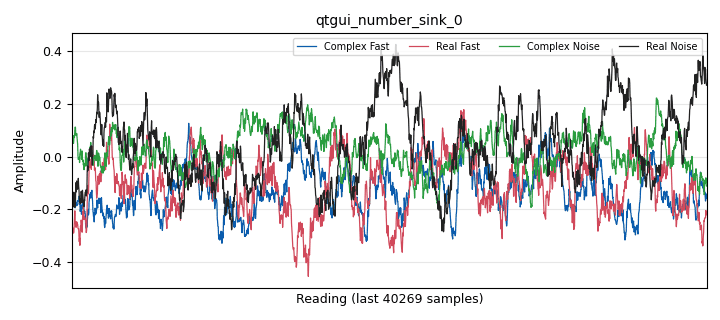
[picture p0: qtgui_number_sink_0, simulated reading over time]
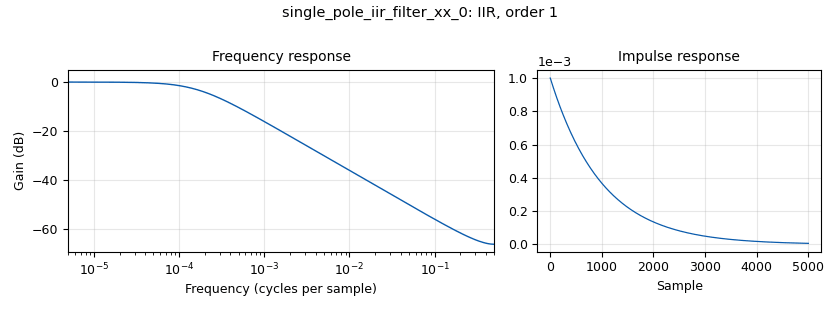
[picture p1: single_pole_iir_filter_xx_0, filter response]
<?xml version='1.0' encoding='utf-8'?>
<?grc format='1' created='3.7.7'?>
<flow_graph>
<block>
<key>options</key>
<param><key>id</key><value>noise_power</value></param>
<param><key>generate_options</key><value>qt_gui</value></param>
<param><key>category</key><value>Custom</value></param>
</block>
<block>
<key>variable</key>
<param><key>id</key><value>samp_rate</value></param>
<param><key>value</key><value>32000</value></param>
</block>
<block>
<key>analog_fastnoise_source_x</key>
<param><key>id</key><value>analog_fastnoise_source_x_0</value></param>
<param><key>type</key><value>complex</value></param>
<param><key>noise_type</key><value>analog.GR_GAUSSIAN</value></param>
<param><key>amp</key><value>noise</value></param>
<param><key>seed</key><value>0</value></param>
<param><key>samples</key><value>8192</value></param>
</block>
<block>
<key>analog_noise_source_x</key>
<param><key>id</key><value>analog_noise_source_x_0</value></param>
<param><key>type</key><value>complex</value></param>
<param><key>noise_type</key><value>analog.GR_GAUSSIAN</value></param>
<param><key>amp</key><value>noise</value></param>
<param><key>seed</key><value>0</value></param>
</block>
<block>
<key>blocks_throttle</key>
<param><key>id</key><value>blocks_throttle_0</value></param>
<param><key>type</key><value>complex</value></param>
<param><key>samples_per_second</key><value>samp_rate</value></param>
</block>
<block>
<key>blocks_throttle</key>
<param><key>id</key><value>blocks_throttle_0_1</value></param>
<param><key>type</key><value>complex</value></param>
<param><key>samples_per_second</key><value>samp_rate</value></param>
</block>
<block>
<key>blocks_complex_to_mag_squared</key>
<param><key>id</key><value>blocks_complex_to_mag_squared_2</value></param>
</block>
<block>
<key>blocks_complex_to_mag_squared</key>
<param><key>id</key><value>blocks_complex_to_mag_squared_1</value></param>
</block>
<block>
<key>analog_fastnoise_source_x</key>
<param><key>id</key><value>analog_fastnoise_source_x_1</value></param>
<param><key>type</key><value>float</value></param>
<param><key>noise_type</key><value>analog.GR_GAUSSIAN</value></param>
<param><key>amp</key><value>noise</value></param>
<param><key>seed</key><value>0</value></param>
<param><key>samples</key><value>8192</value></param>
</block>
<block>
<key>analog_noise_source_x</key>
<param><key>id</key><value>analog_noise_source_x_1</value></param>
<param><key>type</key><value>float</value></param>
<param><key>noise_type</key><value>analog.GR_GAUSSIAN</value></param>
<param><key>amp</key><value>noise</value></param>
<param><key>seed</key><value>0</value></param>
</block>
<block>
<key>blocks_throttle</key>
<param><key>id</key><value>blocks_throttle_0_2</value></param>
<param><key>type</key><value>float</value></param>
<param><key>samples_per_second</key><value>samp_rate</value></param>
</block>
<block>
<key>blocks_throttle</key>
<param><key>id</key><value>blocks_throttle_0_0</value></param>
<param><key>type</key><value>float</value></param>
<param><key>samples_per_second</key><value>samp_rate</value></param>
</block>
<block>
<key>blocks_abs_xx</key>
<param><key>id</key><value>blocks_abs_xx_0_0</value></param>
<param><key>type</key><value>float</value></param>
</block>
<block>
<key>blocks_multiply_xx</key>
<param><key>id</key><value>blocks_multiply_xx_0_0</value></param>
<param><key>type</key><value>float</value></param>
</block>
<block>
<key>blocks_nlog10_ff</key>
<param><key>id</key><value>blocks_nlog10_ff_0_2</value></param>
<param><key>n</key><value>10</value></param>
<param><key>k</key><value>0</value></param>
</block>
<block>
<key>single_pole_iir_filter_xx</key>
<param><key>id</key><value>single_pole_iir_filter_xx_0</value></param>
<param><key>type</key><value>float</value></param>
<param><key>alpha</key><value>0.001</value></param>
</block>
<block>
<key>single_pole_iir_filter_xx</key>
<param><key>id</key><value>single_pole_iir_filter_xx_0_1</value></param>
<param><key>type</key><value>float</value></param>
<param><key>alpha</key><value>0.001</value></param>
</block>
<block>
<key>blocks_nlog10_ff</key>
<param><key>id</key><value>blocks_nlog10_ff_0</value></param>
<param><key>n</key><value>10</value></param>
<param><key>k</key><value>0</value></param>
</block>
<block>
<key>blocks_nlog10_ff</key>
<param><key>id</key><value>blocks_nlog10_ff_0_0</value></param>
<param><key>n</key><value>10</value></param>
<param><key>k</key><value>0</value></param>
</block>
<block>
<key>blocks_nlog10_ff</key>
<param><key>id</key><value>blocks_nlog10_ff_0_1</value></param>
<param><key>n</key><value>10</value></param>
<param><key>k</key><value>0</value></param>
</block>
<block>
<key>single_pole_iir_filter_xx</key>
<param><key>id</key><value>single_pole_iir_filter_xx_0_0</value></param>
<param><key>type</key><value>float</value></param>
<param><key>alpha</key><value>0.001</value></param>
</block>
<block>
<key>single_pole_iir_filter_xx</key>
<param><key>id</key><value>single_pole_iir_filter_xx_0_2</value></param>
<param><key>type</key><value>float</value></param>
<param><key>alpha</key><value>0.001</value></param>
</block>
<block>
<key>blocks_abs_xx</key>
<param><key>id</key><value>blocks_abs_xx_0</value></param>
<param><key>type</key><value>float</value></param>
</block>
<block>
<key>blocks_multiply_xx</key>
<param><key>id</key><value>blocks_multiply_xx_0</value></param>
<param><key>type</key><value>float</value></param>
</block>
<block>
<key>qtgui_number_sink</key>
<param><key>id</key><value>qtgui_number_sink_0</value></param>
<param><key>type</key><value>float</value></param>
<param><key>avg</key><value>0.01</value></param>
<param><key>graph_type</key><value>qtgui.NUM_GRAPH_NONE</value></param>
<param><key>nconnections</key><value>4</value></param>
<param><key>label1</key><value>Complex Fast</value></param>
<param><key>label2</key><value>Real Fast</value></param>
<param><key>label3</key><value>Complex Noise</value></param>
<param><key>label4</key><value>Real Noise</value></param>
</block>
<block>
<key>variable_qtgui_range</key>
<param><key>id</key><value>noise</value></param>
<param><key>label</key><value>Noise Amplitude</value></param>
<param><key>value</key><value>1</value></param>
<param><key>start</key><value>0</value></param>
<param><key>stop</key><value>10</value></param>
<param><key>step</key><value>0.1</value></param>
<param><key>orient</key><value>Qt.Horizontal</value></param>
</block>
<connection><source_block_id>analog_fastnoise_source_x_0</source_block_id><sink_block_id>blocks_throttle_0</sink_block_id><source_key>0</source_key><sink_key>0</sink_key></connection>
<connection><source_block_id>analog_fastnoise_source_x_1</source_block_id><sink_block_id>blocks_throttle_0_0</sink_block_id><source_key>0</source_key><sink_key>0</sink_key></connection>
<connection><source_block_id>analog_noise_source_x_0</source_block_id><sink_block_id>blocks_throttle_0_1</sink_block_id><source_key>0</source_key><sink_key>0</sink_key></connection>
<connection><source_block_id>analog_noise_source_x_1</source_block_id><sink_block_id>blocks_throttle_0_2</sink_block_id><source_key>0</source_key><sink_key>0</sink_key></connection>
<connection><source_block_id>blocks_throttle_0</source_block_id><sink_block_id>blocks_complex_to_mag_squared_2</sink_block_id><source_key>0</source_key><sink_key>0</sink_key></connection>
<connection><source_block_id>blocks_throttle_0_1</source_block_id><sink_block_id>blocks_complex_to_mag_squared_1</sink_block_id><source_key>0</source_key><sink_key>0</sink_key></connection>
<connection><source_block_id>blocks_throttle_0_2</source_block_id><sink_block_id>blocks_abs_xx_0</sink_block_id><source_key>0</source_key><sink_key>0</sink_key></connection>
<connection><source_block_id>blocks_throttle_0_0</source_block_id><sink_block_id>blocks_abs_xx_0_0</sink_block_id><source_key>0</source_key><sink_key>0</sink_key></connection>
<connection><source_block_id>blocks_abs_xx_0</source_block_id><sink_block_id>blocks_multiply_xx_0</sink_block_id><source_key>0</source_key><sink_key>0</sink_key></connection>
<connection><source_block_id>blocks_abs_xx_0</source_block_id><sink_block_id>blocks_multiply_xx_0</sink_block_id><source_key>0</source_key><sink_key>1</sink_key></connection>
<connection><source_block_id>blocks_abs_xx_0_0</source_block_id><sink_block_id>blocks_multiply_xx_0_0</sink_block_id><source_key>0</source_key><sink_key>1</sink_key></connection>
<connection><source_block_id>blocks_abs_xx_0_0</source_block_id><sink_block_id>blocks_multiply_xx_0_0</sink_block_id><source_key>0</source_key><sink_key>0</sink_key></connection>
<connection><source_block_id>single_pole_iir_filter_xx_0</source_block_id><sink_block_id>blocks_nlog10_ff_0</sink_block_id><source_key>0</source_key><sink_key>0</sink_key></connection>
<connection><source_block_id>single_pole_iir_filter_xx_0_0</source_block_id><sink_block_id>blocks_nlog10_ff_0_0</sink_block_id><source_key>0</source_key><sink_key>0</sink_key></connection>
<connection><source_block_id>single_pole_iir_filter_xx_0_1</source_block_id><sink_block_id>blocks_nlog10_ff_0_1</sink_block_id><source_key>0</source_key><sink_key>0</sink_key></connection>
<connection><source_block_id>single_pole_iir_filter_xx_0_2</source_block_id><sink_block_id>blocks_nlog10_ff_0_2</sink_block_id><source_key>0</source_key><sink_key>0</sink_key></connection>
<connection><source_block_id>blocks_nlog10_ff_0</source_block_id><sink_block_id>qtgui_number_sink_0</sink_block_id><source_key>0</source_key><sink_key>0</sink_key></connection>
<connection><source_block_id>blocks_nlog10_ff_0_0</source_block_id><sink_block_id>qtgui_number_sink_0</sink_block_id><source_key>0</source_key><sink_key>1</sink_key></connection>
<connection><source_block_id>blocks_nlog10_ff_0_1</source_block_id><sink_block_id>qtgui_number_sink_0</sink_block_id><source_key>0</source_key><sink_key>2</sink_key></connection>
<connection><source_block_id>blocks_nlog10_ff_0_2</source_block_id><sink_block_id>qtgui_number_sink_0</sink_block_id><source_key>0</source_key><sink_key>3</sink_key></connection>
<connection><source_block_id>blocks_multiply_xx_0_0</source_block_id><sink_block_id>single_pole_iir_filter_xx_0_0</sink_block_id><source_key>0</source_key><sink_key>0</sink_key></connection>
<connection><source_block_id>blocks_multiply_xx_0</source_block_id><sink_block_id>single_pole_iir_filter_xx_0_2</sink_block_id><source_key>0</source_key><sink_key>0</sink_key></connection>
<connection><source_block_id>blocks_complex_to_mag_squared_1</source_block_id><sink_block_id>single_pole_iir_filter_xx_0_1</sink_block_id><source_key>0</source_key><sink_key>0</sink_key></connection>
<connection><source_block_id>blocks_complex_to_mag_squared_2</source_block_id><sink_block_id>single_pole_iir_filter_xx_0</sink_block_id><source_key>0</source_key><sink_key>0</sink_key></connection>
</flow_graph>
